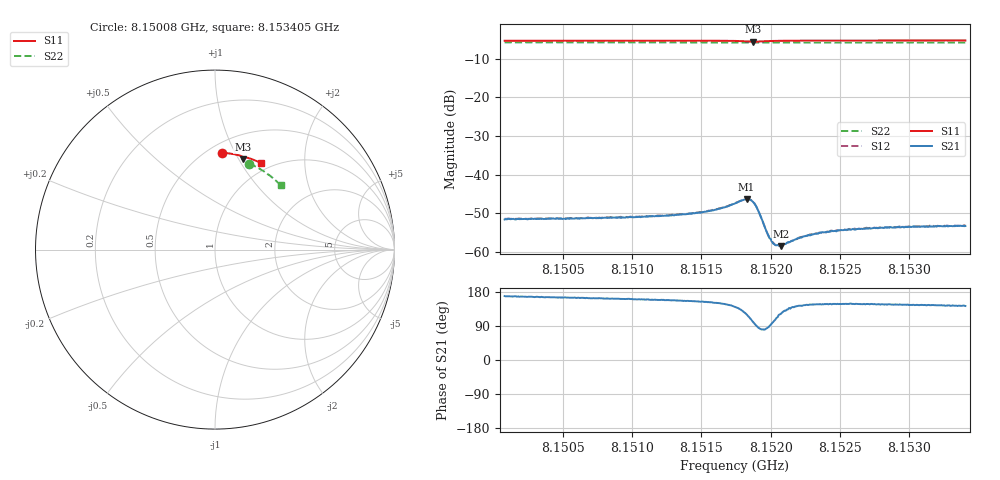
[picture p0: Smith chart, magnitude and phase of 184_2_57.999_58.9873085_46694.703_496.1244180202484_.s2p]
#  HZ  S  RI  R  50.00
! Rohde & Schwarz Vector Network Analyzer
! Rohde-Schwarz,ZNB20-2Port,1311601062101988,3.16
! Created: UTC 3/21/2024, 12:58:27 AM
! freq[Hz]  re:S11  im:S11  re:S21  im:S21  re:S12  im:S12  re:S22  im:S22
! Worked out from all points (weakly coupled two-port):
!   401 points, 8.15008 GHz to 8.153405 GHz, reference 50 ohm
!   highest |S21| = -46.33 dB at 8.151826 GHz (marker M1); lowest = -58.5 dB at 8.152075 GHz (marker M2)
!   lowest |S11| = -5.6 dB at 8.151876 GHz (marker M3), VSWR 3.22, Z = 37.4 + j52 ohm
!   |S11| at or under -10 dB: nowhere
!   |S22| runs from -5.8 to -5.8 dB; largest |S21 - S12| = 0.00012
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8.1500803e9  0.0367 0.5393  -0.00258 0.000516  -0.00263 0.000568  0.1913 0.4788
8.1506372e9  0.0758 0.5361  -0.00262 0.000744  -0.00263 0.000813  0.224 0.4637
8.151194e9  0.1149 0.5297  -0.0027 0.00107  -0.00275 0.00111  0.2555 0.4464
8.1515099e9  0.138 0.5243  -0.00295 0.00143  -0.00292 0.00151  0.2727 0.4356
8.1516512e9  0.149 0.52  -0.00318 0.00194  -0.00317 0.00201  0.2803 0.4304
8.1517426e9  0.1564 0.5149  -0.00328 0.00271  -0.00327 0.00277  0.2852 0.4269
8.1518257e9  0.1595 0.506  -0.00246 0.00415  -0.0024 0.00422  0.2893 0.4238
8.1518506e9  0.1577 0.5033  -0.00166 0.00448  -0.00161 0.00449  0.2905 0.4226
8.1518756e9  0.1547 0.5025  -0.000693 0.00433  -0.000644 0.00437  0.2917 0.4219
8.1518922e9  0.1528 0.5034  -0.000149 0.00398  -0.000109 0.004  0.2923 0.4213
8.1519088e9  0.1516 0.5053  0.000231 0.00346  0.000295 0.00348  0.2931 0.4209
8.1519753e9  0.1548 0.5122  0.000171 0.00175  0.000171 0.00174  0.2967 0.4185
8.1520003e9  0.1571 0.5135  -8.14e-05 0.00147  -5.14e-05 0.00144  0.2981 0.4176
8.1520169e9  0.1588 0.514  -0.000219 0.00127  -0.000182 0.00131  0.2989 0.4172
8.1520335e9  0.1606 0.5144  -0.000352 0.00117  -0.000335 0.00118  0.2999 0.4165
8.1520501e9  0.1622 0.5146  -0.000486 0.00113  -0.000433 0.00112  0.3008 0.4159
8.1520751e9  0.1647 0.5145  -0.000637 0.001  -0.000661 0.00104  0.3019 0.4149
8.1521997e9  0.1754 0.5133  -0.0012 0.000907  -0.00119 0.000944  0.3084 0.4101
8.1522995e9  0.183 0.5113  -0.0014 0.000925  -0.00141 0.000969  0.3134 0.406
8.1524989e9  0.1971 0.5069  -0.00161 0.00101  -0.00161 0.00103  0.3233 0.398
8.1528563e9  0.221 0.4977  -0.00173 0.00113  -0.00173 0.00117  0.3404 0.3827
8.1534049e9  0.2559 0.4818  -0.00172 0.00132  -0.00173 0.00132  0.3651 0.358
